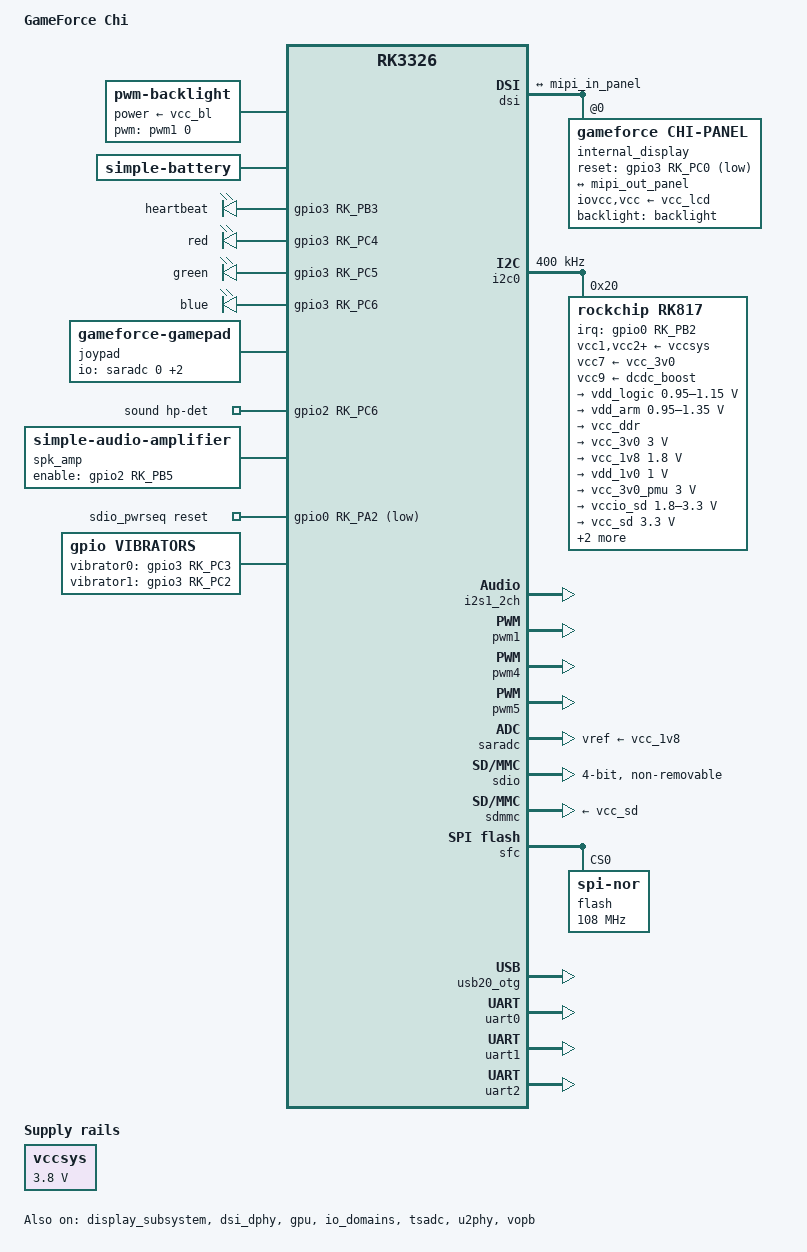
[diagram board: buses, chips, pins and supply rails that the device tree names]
// SPDX-License-Identifier: (GPL-2.0+ OR MIT)
/*
 * Copyright (c) 2024 Chris Morgan <macromorgan@hotmail.com>
 */

/dts-v1/;
#include <dt-bindings/gpio/gpio.h>
#include <dt-bindings/input/input.h>
#include <dt-bindings/leds/common.h>
#include <dt-bindings/pinctrl/rockchip.h>
#include "rockchip/rk3326.dtsi"

/ {
	model = "GameForce Chi";
	compatible = "gameforce,chi", "rockchip,rk3326";

	chassis-type = "handset";

	aliases {
		mmc0 = &sdmmc;
	};

	chosen {
		stdout-path = "serial2:115200n8";
	};

	adc_keys: adc-keys {
		compatible = "volume-keys";
		keyup-threshold-microvolt = <1800000>;
		poll-interval = <60>;

		button-1 {
			label = "HAPPY1";
			linux,code = <BTN_TRIGGER_HAPPY1>;
			press-threshold-microvolt = <15000>;
		};

		button-2 {
			label = "HAPPY2";
			linux,code = <BTN_TRIGGER_HAPPY2>;
			press-threshold-microvolt = <300000>;
		};
	};

	backlight: backlight {
		compatible = "pwm-backlight";
		power-supply = <&vcc_bl>;
		pwms = <&pwm1 0 25000 0>;
	};

	battery: battery {
		compatible = "simple-battery";
		charge-full-design-microamp-hours = <3000000>;
		charge-term-current-microamp = <300000>;
		constant-charge-current-max-microamp = <1500000>;
		constant-charge-voltage-max-microvolt = <4200000>;
		factory-internal-resistance-micro-ohms = <180000>;
		voltage-max-design-microvolt = <4250000>;
		voltage-min-design-microvolt = <3400000>;

		ocv-capacity-celsius = <20>;
		ocv-capacity-table-0 =  <4106000 100>, <4071000 95>, <4018000 90>, <3975000 85>,
					<3946000 80>, <3908000 75>, <3877000 70>, <3853000 65>,
					<3834000 60>, <3816000 55>, <3802000 50>, <3788000 45>,
					<3774000 40>, <3760000 35>, <3748000 30>, <3735000 25>,
					<3718000 20>, <3697000 15>, <3685000 10>, <3625000 5>,
					<3400000 0>;
	};

	gpio_leds: gpio-leds {
		compatible = "gpio-leds";
		pinctrl-names = "led_pins";
		pinctrl-0 = <&led_pins>;

		heartbeat {
			label = "heartbeat";
			gpios = <&gpio3 RK_PB3 GPIO_ACTIVE_HIGH>;
			linux,default-trigger = "heartbeat";
		};

		red {
			label = "red";
			gpios = <&gpio3 RK_PC4 GPIO_ACTIVE_HIGH>;
			default-state = "off";
		};

		green {
			label = "green";
			gpios = <&gpio3 RK_PC5 GPIO_ACTIVE_HIGH>;
			default-state = "off";
		};

		blue {
			label = "blue";
			gpios = <&gpio3 RK_PC6 GPIO_ACTIVE_HIGH>;
			default-state = "off";
		};
	};

    	joypad: gameforce-gamepad {
		compatible = "gameforce-gamepad";
		pinctrl-names = "default";
		pinctrl-0 = <&btn_pins_ctrl>;

		io-channel-names = "joy_x", "joy_y", "volume-buttons";
		io-channels = <&saradc 0>, <&saradc 1>, <&saradc 2>;

		button-adc-count = <2>;
		button-adc-scale = <2>;
		button-adc-deadzone = <20>;

		button-adc-x-range = <1800>;
		button-adc-y-range = <1800>;

		button-adc-fuzz = <32>;
		button-adc-flat = <32>;

		poll-interval = <10>;

		button-sw1 {
			gpios = <&gpio1 RK_PB4 GPIO_ACTIVE_LOW>;
			label = "DPAD-UP";
			linux,code = <BTN_DPAD_UP>;
		};

		button-sw2 {
			gpios = <&gpio1 RK_PB5 GPIO_ACTIVE_LOW>;
			label = "DPAD-DOWN";
			linux,code = <BTN_DPAD_DOWN>;
		};

		button-sw3 {
			gpios = <&gpio1 RK_PB6 GPIO_ACTIVE_LOW>;
			label = "DPAD-LEFT";
			linux,code = <BTN_DPAD_LEFT>;
		};

		button-sw4 {
			gpios = <&gpio1 RK_PB7 GPIO_ACTIVE_LOW>;
			label = "DPAD-RIGHT";
			linux,code = <BTN_DPAD_RIGHT>;
		};

		button-sw5 {
			gpios = <&gpio2 RK_PB0 GPIO_ACTIVE_LOW>;
			label = "BTN-A";
			linux,code = <BTN_EAST>;
		};

		button-sw6 {
			gpios = <&gpio2 RK_PB1 GPIO_ACTIVE_LOW>;
			label = "BTN-B";
			linux,code = <BTN_SOUTH>;
		};

		button-sw7 {
			gpios = <&gpio2 RK_PB2 GPIO_ACTIVE_LOW>;
			label = "BTN-Y";
			linux,code = <BTN_WEST>;
		};

		button-sw8 {
			gpios = <&gpio2 RK_PB3 GPIO_ACTIVE_LOW>;
			label = "BTN-X";
			linux,code = <BTN_NORTH>;
		};

		btn_home: button-sw9 {
			gpios = <&gpio2 RK_PA0 GPIO_ACTIVE_LOW>;
			label = "BTN-HOME";
			linux,code = <BTN_TRIGGER_HAPPY3>;
		};

		btn_select: button-sw10 {
			gpios = <&gpio2 RK_PA3 GPIO_ACTIVE_LOW>;
			label = "BTN-SET";
			linux,code = <BTN_SELECT>;
		};

		btn_start: button-sw11 {
			gpios = <&gpio2 RK_PA2 GPIO_ACTIVE_LOW>;
			label = "BTN-START";
			linux,code = <BTN_START>;
		};

		button-sw12 {
			gpios = <&gpio2 RK_PA6 GPIO_ACTIVE_LOW>;
			label = "TOP-LEFT";
			linux,code = <BTN_TL>;
		};

		button-sw13 {
			gpios = <&gpio2 RK_PA4 GPIO_ACTIVE_LOW>;
			label = "TOP-LEFT2";
			linux,code = <BTN_TL2>;
		};

		button-sw14 {
			gpios = <&gpio2 RK_PA7 GPIO_ACTIVE_LOW>;
			label = "TOP-RIGHT";
			linux,code = <BTN_TR>;
		};

		button-sw15 {
			gpios = <&gpio2 RK_PA5 GPIO_ACTIVE_LOW>;
			label = "TOP-RIGHT2";
			linux,code = <BTN_TR2>;
		};
	};

	sound {
		compatible = "simple-audio-card";
		pinctrl-0 = <&hp_det>;
		pinctrl-names = "default";
		simple-audio-card,name = "rk817_ext";
		simple-audio-card,aux-devs = <&spk_amp>;
		simple-audio-card,format = "i2s";
		simple-audio-card,hp-det-gpio = <&gpio2 RK_PC6 GPIO_ACTIVE_HIGH>;
		simple-audio-card,mclk-fs = <256>;
		simple-audio-card,widgets =
		"Microphone", "Mic Jack",
		"Headphone", "Headphones",
		"Speaker", "Internal Speakers";
		simple-audio-card,routing =
		"MICL", "Mic Jack",
		"Headphones", "HPOL",
		"Headphones", "HPOR",
		"Internal Speakers", "Speaker Amp OUTL",
		"Internal Speakers", "Speaker Amp OUTR",
		"Speaker Amp INL", "HPOL",
		"Speaker Amp INR", "HPOR";
		simple-audio-card,pin-switches = "Internal Speakers";

		simple-audio-card,codec {
			sound-dai = <&rk817>;
		};

		simple-audio-card,cpu {
			sound-dai = <&i2s1_2ch>;
		};
	};

	spk_amp: audio-amplifier {
		compatible = "simple-audio-amplifier";
		enable-gpios = <&gpio2 RK_PB5 GPIO_ACTIVE_HIGH>;
		pinctrl-0 = <&spk_amp_enable_h>;
		pinctrl-names = "default";
		sound-name-prefix = "Speaker Amp";
	};

	sdio_pwrseq: sdio-pwrseq {
		compatible = "mmc-pwrseq-simple";
		pinctrl-0 = <&wifi_enable_h>;
		pinctrl-names = "default";
		reset-gpios = <&gpio0 RK_PA2 GPIO_ACTIVE_LOW>;
	};

	vccsys: vccsys {
		compatible = "regulator-fixed";
		regulator-name = "vcc3v8_sys";
		regulator-always-on;
		regulator-min-microvolt = <3800000>;
		regulator-max-microvolt = <3800000>;
	};

	vibrators {
		compatible = "gpio,vibrators";
		vibrator0-gpio = <&gpio3 RK_PC3 GPIO_ACTIVE_HIGH>;
		vibrator1-gpio = <&gpio3 RK_PC2 GPIO_ACTIVE_HIGH>;
		status = "okay";
	};
};

&cpu0 {
	cpu-supply = <&vdd_arm>;
};

&cpu1 {
	cpu-supply = <&vdd_arm>;
};

&cpu2 {
	cpu-supply = <&vdd_arm>;
};

&cpu3 {
	cpu-supply = <&vdd_arm>;
};

&display_subsystem {
	status = "okay";
};

&dsi {
    status = "okay";

    ports {
        mipi_out: port@1 {
            reg = <1>;

            mipi_out_panel: endpoint {
                remote-endpoint = <&mipi_in_panel>;
            };
        };
    };

    internal_display: panel@0 {
        reg = <0>;
        compatible = "gameforce,chi-panel";
        backlight = <&backlight>;
        iovcc-supply = <&vcc_lcd>;
		vcc-supply = <&vcc_lcd>;
        reset-gpios = <&gpio3 RK_PC0 GPIO_ACTIVE_LOW>;

        port {
            mipi_in_panel: endpoint {
                remote-endpoint = <&mipi_out_panel>;
            };
        };
    };
};

&dsi_dphy {
	status = "okay";
};

&gpu {
	mali-supply = <&vdd_logic>;
	status = "okay";
};

&i2c0 {
	clock-frequency = <400000>;
	i2c-scl-falling-time-ns = <16>;
	i2c-scl-rising-time-ns = <280>;
	status = "okay";

	rk817: pmic@20 {
		compatible = "rockchip,rk817";
		reg = <0x20>;
		#clock-cells = <1>;
		clock-names = "mclk";
		clock-output-names = "rk808-clkout1", "xin32k";
		clocks = <&cru SCLK_I2S1_OUT>;
		interrupt-parent = <&gpio0>;
		interrupts = <RK_PB2 IRQ_TYPE_LEVEL_LOW>;
		pinctrl-0 = <&pmic_int>, <&i2s1_2ch_mclk>;
		pinctrl-names = "default";
		#sound-dai-cells = <0>;
		system-power-controller;
		wakeup-source;

		vcc1-supply = <&vccsys>;
		vcc2-supply = <&vccsys>;
		vcc3-supply = <&vccsys>;
		vcc4-supply = <&vccsys>;
		vcc5-supply = <&vccsys>;
		vcc6-supply = <&vccsys>;
		vcc7-supply = <&vcc_3v0>;
		vcc8-supply = <&vccsys>;
		vcc9-supply = <&dcdc_boost>;

		regulators {
			vdd_logic: DCDC_REG1 {
				regulator-always-on;
				regulator-boot-on;
				regulator-max-microvolt = <1150000>;
				regulator-min-microvolt = <950000>;
				regulator-name = "vdd_logic";
				regulator-ramp-delay = <6001>;

				regulator-state-mem {
					regulator-on-in-suspend;
					regulator-suspend-microvolt = <950000>;
				};
			};

			vdd_arm: DCDC_REG2 {
				regulator-always-on;
				regulator-boot-on;
				regulator-max-microvolt = <1350000>;
				regulator-min-microvolt = <950000>;
				regulator-name = "vdd_arm";
				regulator-ramp-delay = <6001>;

				regulator-state-mem {
					regulator-off-in-suspend;
					regulator-suspend-microvolt = <950000>;
				};
			};

			vcc_ddr: DCDC_REG3 {
				regulator-always-on;
				regulator-boot-on;
				regulator-name = "vcc_ddr";

				regulator-state-mem {
					regulator-on-in-suspend;
				};
			};

			vcc_3v0: DCDC_REG4 {
				regulator-always-on;
				regulator-boot-on;
				regulator-max-microvolt = <3000000>;
				regulator-min-microvolt = <3000000>;
				regulator-name = "vcc_3v0";

				regulator-state-mem {
					regulator-off-in-suspend;
					regulator-suspend-microvolt = <3000000>;
				};
			};

			vcc_1v8: LDO_REG2 {
				regulator-always-on;
				regulator-boot-on;
				regulator-max-microvolt = <1800000>;
				regulator-min-microvolt = <1800000>;
				regulator-name = "vcc_1v8";

				regulator-state-mem {
					regulator-on-in-suspend;
					regulator-suspend-microvolt = <1800000>;
				};
			};

			vdd_1v0: LDO_REG3 {
				regulator-always-on;
				regulator-boot-on;
				regulator-max-microvolt = <1000000>;
				regulator-min-microvolt = <1000000>;
				regulator-name = "vdd_1v0";

				regulator-state-mem {
					regulator-on-in-suspend;
					regulator-suspend-microvolt = <1000000>;
				};
			};

			vcc_3v0_pmu: LDO_REG4 {
				regulator-always-on;
				regulator-boot-on;
				regulator-max-microvolt = <3000000>;
				regulator-min-microvolt = <3000000>;
				regulator-name = "vcc_3v0_pmu";

				regulator-state-mem {
					regulator-on-in-suspend;
					regulator-suspend-microvolt = <3000000>;
				};
			};

			vccio_sd: LDO_REG5 {
				regulator-always-on;
				regulator-boot-on;
				regulator-max-microvolt = <3300000>;
				regulator-min-microvolt = <1800000>;
				regulator-name = "vccio_sd";

				regulator-state-mem {
					regulator-on-in-suspend;
					regulator-suspend-microvolt = <3300000>;
				};
			};

			vcc_sd: LDO_REG6 {
				regulator-boot-on;
				regulator-max-microvolt = <3300000>;
				regulator-min-microvolt = <3300000>;
				regulator-name = "vcc_sd";

				regulator-state-mem {
					regulator-on-in-suspend;
					regulator-suspend-microvolt = <3300000>;
				};
			};

			vcc_bl: LDO_REG7 {
				regulator-max-microvolt = <3300000>;
				regulator-min-microvolt = <3300000>;
				regulator-name = "vcc_bl";

				regulator-state-mem {
					regulator-off-in-suspend;
					regulator-suspend-microvolt = <3300000>;
				};
			};

			vcc_lcd: LDO_REG8 {
				regulator-max-microvolt = <2800000>;
				regulator-min-microvolt = <2800000>;
				regulator-name = "vcc_lcd";

				regulator-state-mem {
					regulator-off-in-suspend;
					regulator-suspend-microvolt = <2800000>;
				};
			};

			vcc_wifi: LDO_REG9 {
				regulator-always-on;
				regulator-boot-on;
				regulator-max-microvolt = <3300000>;
				regulator-min-microvolt = <3300000>;
				regulator-name = "vcc_wifi";

				regulator-state-mem {
					regulator-off-in-suspend;
					regulator-suspend-microvolt = <3300000>;
				};
			};

			dcdc_boost: BOOST {
				regulator-max-microvolt = <5000000>;
				regulator-min-microvolt = <5000000>;
				regulator-name = "dcdc_boost";

				regulator-state-mem {
					regulator-off-in-suspend;
				};
			};

			otg_switch: OTG_SWITCH {
				regulator-name = "otg_switch";

				regulator-state-mem {
					regulator-off-in-suspend;
				};
			};
		};

		rk817_charger: charger {
			monitored-battery = <&battery>;
			rockchip,resistor-sense-micro-ohms = <10000>;
			rockchip,sleep-enter-current-microamp = <300000>;
			rockchip,sleep-filter-current-microamp = <100000>;
		};
	};
};

&i2s1_2ch {
	status = "okay";
};

&io_domains {
	vccio1-supply = <&vcc_3v0_pmu>;
	vccio2-supply = <&vccio_sd>;
	vccio3-supply = <&vcc_3v0>;
	vccio4-supply = <&vcc_3v0>;
	vccio5-supply = <&vcc_3v0>;
	vccio6-supply = <&vcc_3v0>;
	status = "okay";
};

&pinctrl {
	headphone {
		hp_det: hp-det {
			rockchip,pins =
				<2 RK_PC6 RK_FUNC_GPIO &pcfg_pull_up>;
		};
	};

	gpio-btns {
		btn_pins_ctrl: btn-pins-ctrl {
			rockchip,pins =
				<1 RK_PB4 RK_FUNC_GPIO &pcfg_pull_up>,
				<1 RK_PB5 RK_FUNC_GPIO &pcfg_pull_up>,
				<1 RK_PB6 RK_FUNC_GPIO &pcfg_pull_up>,
				<1 RK_PB7 RK_FUNC_GPIO &pcfg_pull_up>,
				<2 RK_PA0 RK_FUNC_GPIO &pcfg_pull_up>,
				<2 RK_PA2 RK_FUNC_GPIO &pcfg_pull_up>,
				<2 RK_PA3 RK_FUNC_GPIO &pcfg_pull_up>,
				<2 RK_PA4 RK_FUNC_GPIO &pcfg_pull_up>,
				<2 RK_PA5 RK_FUNC_GPIO &pcfg_pull_up>,
				<2 RK_PA6 RK_FUNC_GPIO &pcfg_pull_up>,
				<2 RK_PA7 RK_FUNC_GPIO &pcfg_pull_up>,
				<2 RK_PB0 RK_FUNC_GPIO &pcfg_pull_up>,
				<2 RK_PB1 RK_FUNC_GPIO &pcfg_pull_up>,
				<2 RK_PB2 RK_FUNC_GPIO &pcfg_pull_up>,
				<2 RK_PB3 RK_FUNC_GPIO &pcfg_pull_up>;
		};
	};

	gpio-leds {
		led_pins: led-pins {
			rockchip,pins =
				<3 RK_PB2 RK_FUNC_GPIO &pcfg_pull_none>,
				<3 RK_PB3 RK_FUNC_GPIO &pcfg_pull_none>,
				<3 RK_PC4 RK_FUNC_GPIO &pcfg_pull_none>,
				<3 RK_PC5 RK_FUNC_GPIO &pcfg_pull_none>,
				<3 RK_PC6 RK_FUNC_GPIO &pcfg_pull_none>;
		};
	};

    	pmic {
		pmic_int: pmic-int {
			rockchip,pins =
				<0 RK_PC1 RK_FUNC_GPIO &pcfg_pull_up>;
		};

		soc_slppin_gpio: soc_slppin_gpio {
			rockchip,pins =
				<0 RK_PA4 RK_FUNC_GPIO &pcfg_output_low>;
		};

		soc_slppin_rst: soc_slppin_rst {
			rockchip,pins =
				<0 RK_PA4 2 &pcfg_pull_none>;
		};

		soc_slppin_slp: soc_slppin_slp {
			rockchip,pins =
				<0 RK_PA4 1 &pcfg_pull_none>;
		};
	};

	sdio-pwrseq {
		wifi_enable_h: wifi-enable-h {
			rockchip,pins =
				<0 RK_PA2 RK_FUNC_GPIO &pcfg_pull_none>;
		};
	};

	speaker {
		spk_amp_enable_h: spk-amp-enable-h {
			rockchip,pins =
				<2 RK_PB5 RK_FUNC_GPIO &pcfg_pull_none>;
		};
	};
};

&pmu_io_domains {
	pmuio1-supply = <&vcc_1v8>;
	pmuio2-supply = <&vcc_3v0_pmu>;
	status = "okay";
};

&pwm1 {
	status = "okay";
};

&pwm4 {
	status = "okay";
};

&pwm5 {
	status = "okay";
};

&saradc {
	vref-supply = <&vcc_1v8>;
	status = "okay";
};

&sdio {
	bus-width = <4>;
	cap-sd-highspeed;
	cap-sdio-irq;
	disable-wp;
	supports-sdio;
	ignore-pm-notify;
	keep-power-in-suspend;
	non-removable;
	mmc-pwrseq = <&sdio_pwrseq>;
	sd-uhs-sdr104;
	status = "okay";

		rtl8723ds: wifi@1 {
			compatible = "wlan-platdata";
			rockchip,grf = <&grf>;
			wifi_chip_type = "realtek,rtl8723ds";
			WIFI,host_wake_irq = <&gpio0 RK_PA5 GPIO_ACTIVE_HIGH>;
			sdio_vref = <3300>;
			status = "okay";
		};
};

&sdmmc {
	cap-mmc-highspeed;
	cap-sd-highspeed;
	no-sdio;
	sd-uhs-sdr12;
	sd-uhs-sdr25;
	sd-uhs-sdr50;
	sd-uhs-sdr104;
	vmmc-supply = <&vcc_sd>;
	vqmmc-supply = <&vccio_sd>;
	status = "okay";
};

&sfc {
	#address-cells = <1>;
	pinctrl-0 = <&sfc_clk &sfc_cs0 &sfc_bus2>;
	pinctrl-names = "default";
	#size-cells = <0>;
	status = "okay";

	flash@0 {
		compatible = "jedec,spi-nor";
		reg = <0>;
		spi-max-frequency = <108000000>;
		spi-rx-bus-width = <2>;
		spi-tx-bus-width = <1>;
	};
};

&tsadc {
	status = "okay";
};

&u2phy {
	status = "okay";

	u2phy_otg: otg-port {
		status = "okay";
	};
};

&usb20_otg {
	status = "okay";
};

&uart0 {
	status = "okay";
};

&uart1 {
	pinctrl-names = "default";
	pinctrl-0 = <&uart1_xfer &uart1_cts>;
	status = "okay";
};

&uart2 {
	pinctrl-0 = <&uart2m1_xfer>;
	pinctrl-names = "default";
	status = "okay";
};

&vopb {
	status = "okay";
};

&vopb_mmu {
	status = "okay";
};
